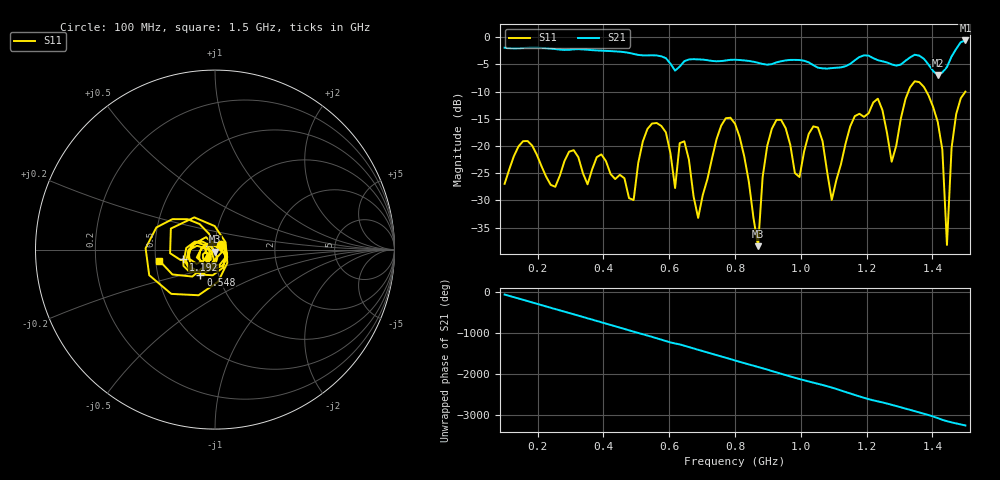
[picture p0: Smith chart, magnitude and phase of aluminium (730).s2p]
! NanoVNA-App
! Date: 2025-09-25 15:00:58
! Start: 100MHz Stop: 1,5GHz Points: 101
! S-Parameter data: F S11 S21 S12 S22
# Hz S RI R 50
!  Frequency  S11_Real  S11_Imag  S21_Real  S21_Imag  S12_Real  S12_Imag  S22_Real  S22_Imag
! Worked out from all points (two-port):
!   101 points, 100 MHz to 1.5 GHz, reference 50 ohm
!   highest |S21| = -0.59 dB at 1.5 GHz (marker M1); lowest = -7.0 dB at 1.416 GHz (marker M2)
!   |S21| within 3 dB of the highest: start of sweep to 579.6 MHz; 1.458 GHz to end of sweep (the widest 2 of 4)
!   lowest |S11| = -38.4 dB at 870 MHz (marker M3), VSWR 1.02, Z = 50.1 - j1.2 ohm
!   |S11| at or under -10 dB: start of sweep to 1.327 GHz; 1.382 GHz to end of sweep
!   S12 and S22 are empty: the file has one direction only
!   S11 on the Smith chart (normalised r, x): 100 MHz: 1.07, +0.06; 548 MHz: 0.82, -0.23; 1.192 GHz: 0.70, -0.08; 1.5 GHz: 0.52, -0.07
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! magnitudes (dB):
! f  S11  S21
! 100 MHz  -27.0  -1.9
! 338 MHz  -25.0  -2.2
! 492 MHz  -29.9  -3.1
! 548 MHz  -15.9  -3.3
! 576 MHz  -16.3  -3.5
! 618 MHz  -27.7  -6.1
! 646 MHz  -19.1  -4.4
! 688 MHz  -33.2  -4.1
! 800 MHz  -15.9  -4.1
! 870 MHz  -38.4  -4.7
! 912 MHz  -16.8  -4.9
! 996 MHz  -25.7  -4.2
! 1.038 GHz  -16.4  -5.1
! 1.094 GHz  -29.9  -5.7
! 1.192 GHz  -14.6  -3.3
! 1.234 GHz  -11.3  -4.2
! 1.276 GHz  -22.9  -5.0
! 1.346 GHz  -8.1  -3.2
! 1.416 GHz  -15.6  -7.0
! 1.444 GHz  -38.2  -5.5
! 1.458 GHz  -20.3  -3.6
! 1.5 GHz  -10.0  -0.6
